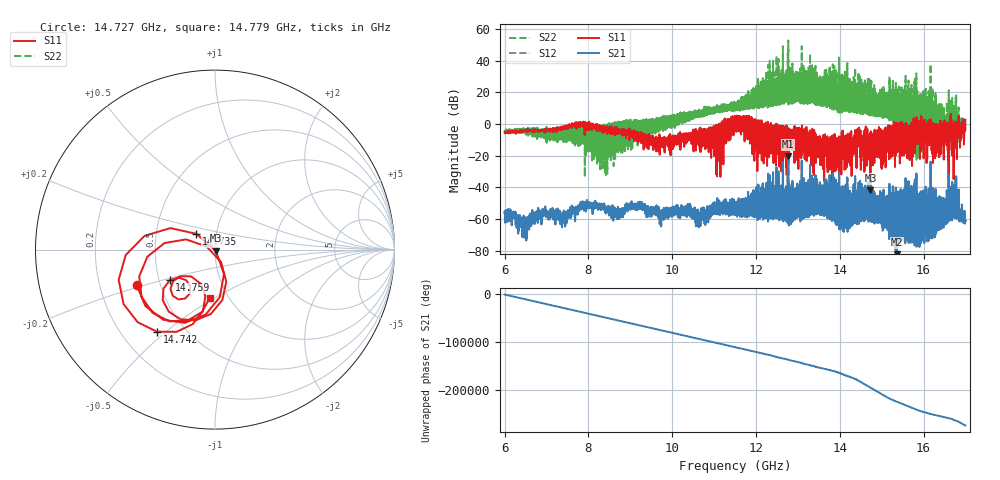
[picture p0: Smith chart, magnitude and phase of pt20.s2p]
#  HZ  S  RI  R  50.00
! Rohde & Schwarz Vector Network Analyzer
! Rohde-Schwarz,ZNA67-2Port,1332450062101215,3.01
! Created: UTC 10/15/2026, 2:40:24 PM
! freq[Hz]  re:S11  im:S11  re:S21  im:S21  re:S12  im:S12  re:S22  im:S22
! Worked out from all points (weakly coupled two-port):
!   11001 points, 6 GHz to 17 GHz, reference 50 ohm
!   highest |S21| = -20.48 dB at 12.772 GHz (marker M1); lowest = -82.9 dB at 15.365 GHz (marker M2)
!   lowest |S11| = -42.0 dB at 14.734 GHz (marker M3), VSWR 1.02, Z = 50.4 - j0.667 ohm
!   |S11| at or under -10 dB: 13.65204 GHz to 13.70162 GHz (49.58 MHz wide, 0.363 % of centre); 13.72004 GHz to 13.7695 GHz (49.46 MHz wide, 0.36 % of centre); 14.08079 GHz to 14.12748 GHz (46.69 MHz wide, 0.331 % of centre) (the widest 3 of 479)
!   |S22| runs from -33.4 to 52.8 dB; largest |S21 - S12| = 0.0033
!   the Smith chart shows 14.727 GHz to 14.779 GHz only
!   S11 on the Smith chart (normalised r, x): 14.727 GHz: 0.37, -0.19; 14.735 GHz: 0.80, +0.14; 14.742 GHz: 0.35, -0.47; 14.759 GHz: 0.57, -0.21; 14.779 GHz: 0.82, -0.47
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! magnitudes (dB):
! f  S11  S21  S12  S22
! 6 GHz  -5.3  -56.4  -56.5  -4.0
! 6.484 GHz  -4.1  -64.7  -64.5  -3.6
! 6.794 GHz  -4.0  -55.8  -55.6  -5.4
! 7.834 GHz  -0.4  -52.9  -53.0  -12.1
! 9.667 GHz  -10.5  -57.6  -57.9  -3.6
! 10.619 GHz  -7.3  -55.2  -54.7  9.0
! 11.053 GHz  -0.4  -50.9  -51.2  9.4
! 11.5 GHz  4.8  -55.1  -55.0  9.4
! 12.772 GHz  -7.1  -20.5  -20.5  52.8
! 13.334 GHz  -6.5  -54.4  -54.6  16.6
! 14.043 GHz  -8.3  -63.9  -63.8  8.8
! 14.727 GHz  -6.4  -59.0  -59.1  5.9
! 14.734 GHz  -42.0  -56.3  -55.4  12.2
! 14.735 GHz  -17.4  -54.2  -54.4  11.8
! 14.742 GHz  -5.0  -39.8  -39.9  25.3
! 14.759 GHz  -10.3  -59.3  -58.9  9.4
! 14.779 GHz  -11.4  -55.9  -55.7  10.2
! 15.167 GHz  -9.3  -64.4  -63.6  7.0
! 15.365 GHz  -9.9  -82.9  -83.0  -0.3
! 16.249 GHz  -8.2  -58.8  -58.9  4.6
! 16.75 GHz  -3.0  -58.8  -58.2  -7.3
! 17 GHz  2.6  -60.9  -60.8  -1.9
